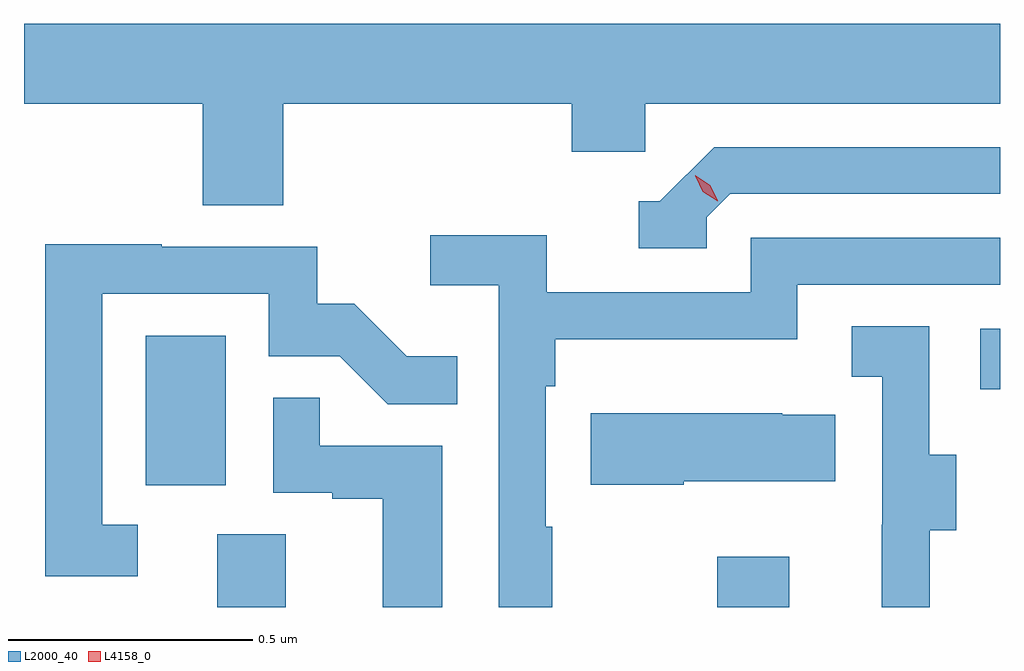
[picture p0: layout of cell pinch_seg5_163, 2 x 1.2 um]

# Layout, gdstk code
import gdstk
lib = gdstk.Library(unit=1e-6, precision=1e-09)
def R(c, l, rs):  # rectangles x0, y0, x1, y1
    for r in rs: c.add(gdstk.rectangle(r[:2], r[2:], *l))
def P(c, l, *ps):  # polygons
    for p in ps: c.add(gdstk.Polygon(p, *l))
L2000_40 = (2000, 40)
L4158_0 = (4158, 0)

pinch_seg5_163 = lib.new_cell('pinch_seg5_163')
R(pinch_seg5_163, L2000_40, [(1098.089,883.7,1098.229,883.85), (1099.114,883.7,1099.261,883.804), (1097.942,883.95,1098.106,884.257), (1099.653,884.147,1099.693,884.271)])
P(pinch_seg5_163, L2000_40, [(1098.224,884.732),(1098.815,884.732),(1098.815,884.634),(1098.966,884.634),(1098.966,884.732),(1099.693,884.732),(1099.693,884.896),(1097.693,884.896),(1097.693,884.732),(1098.059,884.732),(1098.059,884.524),(1098.224,884.524)],
  [(1099.092,884.499),(1099.14,884.547),(1099.693,884.547),(1099.693,884.643),(1099.107,884.643),(1098.996,884.532),(1098.953,884.532),(1098.953,884.436),(1099.092,884.436)],
  [(1098.775,883.865),(1098.762,883.865),(1098.762,884.153),(1098.782,884.153),(1098.782,884.249),(1099.278,884.249),(1099.278,884.361),(1099.693,884.361),(1099.693,884.457),(1099.182,884.457),(1099.182,884.346),(1098.764,884.346),(1098.764,884.462),(1098.525,884.462),(1098.525,884.36),(1098.666,884.36),(1098.666,883.7),(1098.775,883.7)],
  [(1097.926,883.869),(1097.853,883.869),(1097.853,884.343),(1098.195,884.343),(1098.195,884.214),(1098.34,884.214),(1098.438,884.116),(1098.581,884.116),(1098.581,884.215),(1098.477,884.215),(1098.37,884.322),(1098.294,884.322),(1098.294,884.439),(1097.975,884.439),(1097.975,884.444),(1097.737,884.444),(1097.737,883.764),(1097.926,883.764)],
  [(1099.549,883.858),(1099.603,883.858),(1099.603,884.013),(1099.548,884.013),(1099.548,884.276),(1099.389,884.276),(1099.389,884.173),(1099.452,884.173),(1099.452,883.869),(1099.451,883.869),(1099.451,883.7),(1099.549,883.7)],
  [(1098.55,884.031),(1098.299,884.031),(1098.299,884.129),(1098.204,884.129),(1098.204,883.935),(1098.325,883.935),(1098.325,883.923),(1098.428,883.923),(1098.428,883.7),(1098.55,883.7)],
  [(1099.045,883.958),(1099.355,883.958),(1099.355,884.095),(1099.247,884.095),(1099.247,884.098),(1098.854,884.098),(1098.854,883.951),(1099.045,883.951)])
P(pinch_seg5_163, L4158_0, [(1099.115,884.532),(1099.084,884.552),(1099.068,884.584),(1099.068,884.585),(1099.069,884.585),(1099.099,884.565),(1099.115,884.533),(1099.115,884.532)])

lib.write_gds('pinch_seg5_163.gds')
